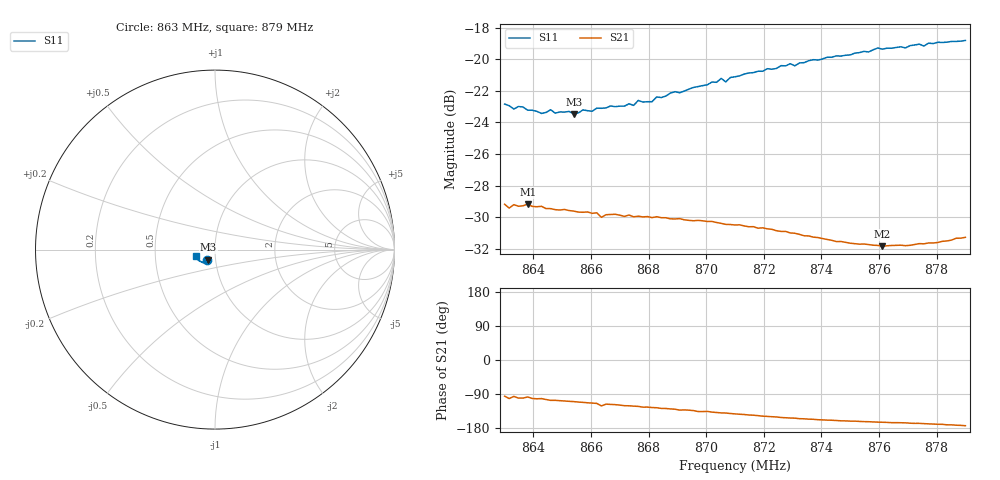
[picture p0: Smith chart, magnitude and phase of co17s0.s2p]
# HZ S RI R 50
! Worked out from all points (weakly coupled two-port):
!   101 points, 863 MHz to 879 MHz, reference 50 ohm
!   highest |S21| = -29.17 dB at 863.8 MHz (marker M1); lowest = -31.8 dB at 876.12 MHz (marker M2)
!   lowest |S11| = -23.5 dB at 865.4 MHz (marker M3), VSWR 1.14, Z = 46.1 - j5.18 ohm
!   |S11| at or under -10 dB: start of sweep to end of sweep
!   S12 and S22 are empty: the file has one direction only
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8.63e8  -0.0461 -0.0555  -0.00333 -0.0346  0 0  0 0
8.6316e8  -0.0446 -0.0556  -0.00688 -0.0331  0 0  0 0
8.6332e8  -0.0444 -0.0536  -0.0037 -0.0345  0 0  0 0
8.6348e8  -0.043 -0.0563  -0.00623 -0.0337  0 0  0 0
8.638e8  -0.0384 -0.0573  -0.00456 -0.0345  0 0  0 0
8.654e8  -0.0372 -0.0559  -0.0112 -0.0311  0 0  0 0
8.6572e8  -0.0371 -0.0584  -0.0122 -0.0305  0 0  0 0
8.6604e8  -0.0365 -0.0579  -0.0131 -0.0298  0 0  0 0
8.662e8  -0.0375 -0.0592  -0.0136 -0.0297  0 0  0 0
8.6636e8  -0.0371 -0.0593  -0.0164 -0.0271  0 0  0 0
8.6684e8  -0.0365 -0.0606  -0.0151 -0.0286  0 0  0 0
8.6748e8  -0.0355 -0.062  -0.0167 -0.027  0 0  0 0
8.6764e8  -0.0381 -0.0636  -0.0171 -0.0269  0 0  0 0
8.6844e8  -0.0386 -0.0651  -0.0193 -0.0249  0 0  0 0
8.7036e8  -0.0462 -0.0708  -0.0228 -0.0202  0 0  0 0
8.7052e8  -0.0475 -0.0729  -0.0231 -0.0196  0 0  0 0
8.7068e8  -0.0467 -0.0708  -0.023 -0.0193  0 0  0 0
8.71e8  -0.05 -0.0724  -0.0236 -0.0183  0 0  0 0
8.7372e8  -0.0687 -0.0723  -0.0251 -0.0109  0 0  0 0
8.7612e8  -0.0883 -0.0616  -0.0247 -0.00694  0 0  0 0
8.7644e8  -0.0908 -0.0591  -0.0249 -0.00649  0 0  0 0
8.79e8  -0.1083 -0.0378  -0.0272 -0.00314  0 0  0 0
